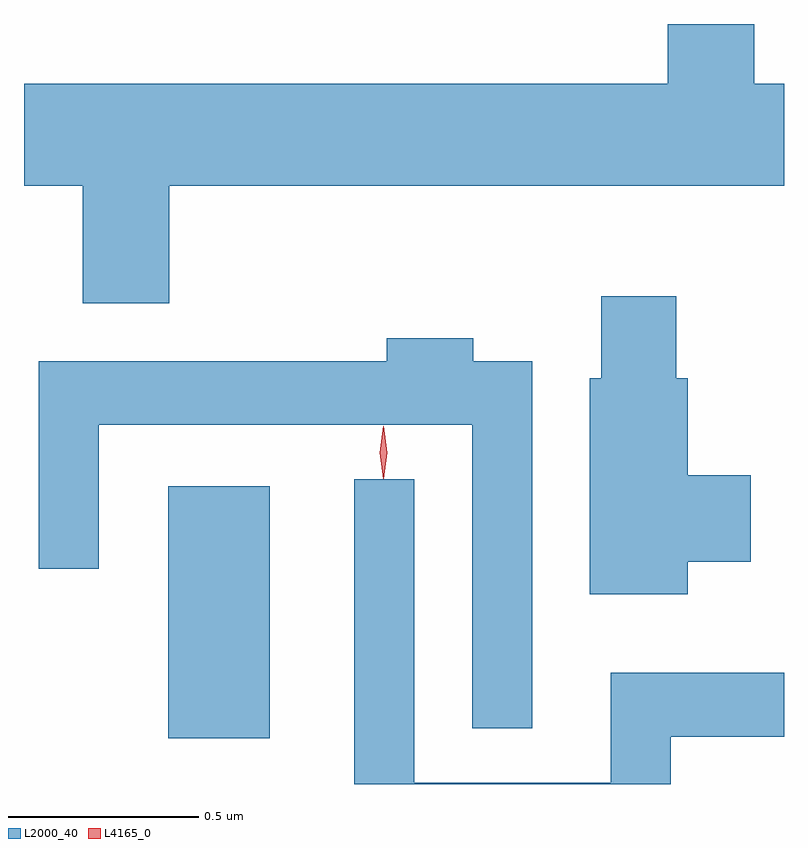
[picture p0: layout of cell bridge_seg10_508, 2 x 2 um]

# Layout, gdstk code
import gdstk
lib = gdstk.Library(unit=1e-6, precision=1e-09)
def R(c, l, rs):  # rectangles x0, y0, x1, y1
    for r in rs: c.add(gdstk.rectangle(r[:2], r[2:], *l))
def P(c, l, *ps):  # polygons
    for p in ps: c.add(gdstk.Polygon(p, *l))
L2000_40 = (2000, 40)
L4165_0 = (4165, 0)

bridge_seg10_508 = lib.new_cell('bridge_seg10_508')
R(bridge_seg10_508, L2000_40, [(898.656,2176.841,898.924,2177.504)])
P(bridge_seg10_508, L2000_40, [(898.659,2178.296),(900.277,2178.296),(900.277,2178.564),(900.199,2178.564),(900.199,2178.721),(899.971,2178.721),(899.971,2178.564),(898.277,2178.564),(898.277,2178.296),(898.431,2178.296),(898.431,2177.986),(898.659,2177.986)],
  [(900.024,2177.306),(900.189,2177.306),(900.189,2177.534),(900.024,2177.534),(900.024,2177.789),(899.994,2177.789),(899.994,2178.004),(899.796,2178.004),(899.796,2177.789),(899.766,2177.789),(899.766,2177.221),(900.024,2177.221)],
  [(899.614,2177.834),(899.459,2177.834),(899.459,2177.894),(899.231,2177.894),(899.231,2177.834),(898.316,2177.834),(898.316,2177.288),(898.474,2177.288),(898.474,2177.666),(899.456,2177.666),(899.456,2176.868),(899.614,2176.868)],
  [(899.979,2176.846),(900.277,2176.846),(900.277,2177.014),(899.821,2177.014),(899.821,2176.724),(899.304,2176.724),(899.304,2177.523),(899.146,2177.523),(899.146,2176.721),(899.979,2176.721)])
P(bridge_seg10_508, L4165_0, [(899.223,2177.524),(899.223,2177.524),(899.213,2177.593),(899.223,2177.662),(899.223,2177.663),(899.224,2177.662),(899.233,2177.593),(899.224,2177.524)])

lib.write_gds('bridge_seg10_508.gds')
